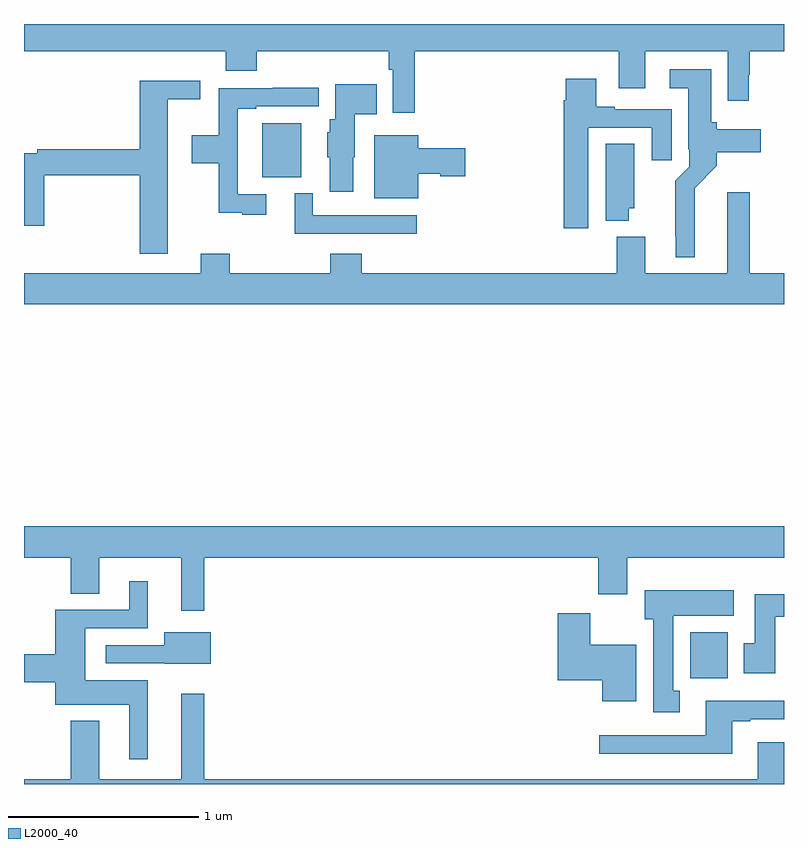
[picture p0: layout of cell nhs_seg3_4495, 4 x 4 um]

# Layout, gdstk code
import gdstk
lib = gdstk.Library(unit=1e-6, precision=1e-09)
def R(c, l, rs):  # rectangles x0, y0, x1, y1
    for r in rs: c.add(gdstk.rectangle(r[:2], r[2:], *l))
def P(c, l, *ps):  # polygons
    for p in ps: c.add(gdstk.Polygon(p, *l))
L2000_40 = (2000, 40)

nhs_seg3_4495 = lib.new_cell('nhs_seg3_4495')
R(nhs_seg3_4495, L2000_40, [(354.506,690.956,354.703,691.198), (352.253,693.593,352.459,693.877)])
P(nhs_seg3_4495, L2000_40, [(353.057,694.256),(354.131,694.256),(354.131,694.062),(354.271,694.062),(354.271,694.256),(354.705,694.256),(354.705,693.996),(354.814,693.996),(354.814,694.134),(354.821,694.134),(354.821,694.256),(355,694.256),(355,694.4),(351,694.4),(351,694.256),(352.061,694.256),(352.061,694.154),(352.226,694.154),(352.226,694.256),(352.921,694.256),(352.921,694.16),(352.941,694.16),(352.941,693.933),(353.057,693.933)],
  [(354.529,693.536),(354.647,693.654),(354.647,693.725),(354.877,693.725),(354.877,693.847),(354.647,693.847),(354.647,693.882),(354.616,693.882),(354.616,694.162),(354.399,694.162),(354.399,694.061),(354.497,694.061),(354.497,693.742),(354.501,693.742),(354.501,693.648),(354.427,693.574),(354.427,693.283),(354.431,693.283),(354.431,693.173),(354.529,693.173)],
  [(353.971,693.855),(354.305,693.855),(354.305,693.684),(354.409,693.684),(354.409,693.951),(354.109,693.951),(354.109,693.964),(354.013,693.964),(354.013,694.111),(353.852,694.111),(353.852,693.998),(353.84,693.998),(353.84,693.324),(353.971,693.324)],
  [(351.757,694.004),(351.928,694.004),(351.928,694.102),(351.608,694.102),(351.608,693.74),(351.07,693.74),(351.07,693.72),(351,693.72),(351,693.339),(351.107,693.339),(351.107,693.604),(351.608,693.604),(351.608,693.192),(351.757,693.192)],
  [(352.732,693.699),(352.741,693.699),(352.741,693.926),(352.856,693.926),(352.856,694.084),(352.637,694.084),(352.637,693.9),(352.61,693.9),(352.61,693.831),(352.595,693.831),(352.595,693.699),(352.61,693.699),(352.61,693.516),(352.732,693.516)],
  [(352.276,693.504),(352.125,693.504),(352.125,693.954),(352.222,693.954),(352.222,693.966),(352.552,693.966),(352.552,694.064),(352.309,694.064),(352.309,694.062),(352.024,694.062),(352.024,693.814),(351.882,693.814),(351.882,693.667),(352.024,693.667),(352.024,693.407),(352.148,693.407),(352.148,693.396),(352.276,693.396)],
  [(353.074,693.611),(353.19,693.611),(353.19,693.599),(353.323,693.599),(353.323,693.746),(353.074,693.746),(353.074,693.814),(352.844,693.814),(352.844,693.482),(353.074,693.482)],
  [(354.184,693.429),(354.211,693.429),(354.211,693.77),(354.062,693.77),(354.062,693.365),(354.184,693.365)],
  [(355,693.088),(354.819,693.088),(354.819,693.514),(354.701,693.514),(354.701,693.088),(354.271,693.088),(354.271,693.28),(354.119,693.28),(354.119,693.088),(352.778,693.088),(352.778,693.19),(352.613,693.19),(352.613,693.088),(352.082,693.088),(352.082,693.19),(351.929,693.19),(351.929,693.088),(351,693.088),(351,692.924),(355,692.924)],
  [(353.068,693.393),(352.521,693.393),(352.521,693.508),(352.424,693.508),(352.424,693.297),(353.068,693.297)],
  [(351.949,691.592),(354.023,691.592),(354.023,691.398),(354.175,691.398),(354.175,691.592),(355,691.592),(355,691.756),(351,691.756),(351,691.592),(351.245,691.592),(351.245,691.402),(351.397,691.402),(351.397,691.592),(351.827,691.592),(351.827,691.311),(351.949,691.311)],
  [(351.652,690.946),(351.322,690.946),(351.322,691.221),(351.652,691.221),(351.652,691.468),(351.554,691.468),(351.554,691.317),(351.164,691.317),(351.164,691.082),(351,691.082),(351,690.935),(351.164,690.935),(351.164,690.818),(351.554,690.818),(351.554,690.531),(351.652,690.531)],
  [(354.451,690.89),(354.418,690.89),(354.418,691.286),(354.736,691.286),(354.736,691.42),(354.266,691.42),(354.266,691.266),(354.311,691.266),(354.311,690.777),(354.451,690.777)],
  [(354.955,691.28),(355,691.28),(355,691.399),(354.845,691.399),(354.845,691.14),(354.788,691.14),(354.788,690.984),(354.955,690.984)],
  [(354.223,691.132),(353.98,691.132),(353.98,691.3),(353.81,691.3),(353.81,690.947),(354.044,690.947),(354.044,690.836),(354.223,690.836)],
  [(351.982,691.198),(351.737,691.198),(351.737,691.131),(351.429,691.131),(351.429,691.035),(351.741,691.035),(351.741,691.034),(351.982,691.034)],
  [(355,690.619),(354.863,690.619),(354.863,690.424),(351.949,690.424),(351.949,690.874),(351.827,690.874),(351.827,690.424),(351.397,690.424),(351.397,690.733),(351.245,690.733),(351.245,690.424),(351,690.424),(351,690.4),(355,690.4)],
  [(354.727,690.729),(354.823,690.729),(354.823,690.741),(355,690.741),(355,690.838),(354.587,690.838),(354.587,690.657),(354.027,690.657),(354.027,690.56),(354.727,690.56)])

lib.write_gds('nhs_seg3_4495.gds')
